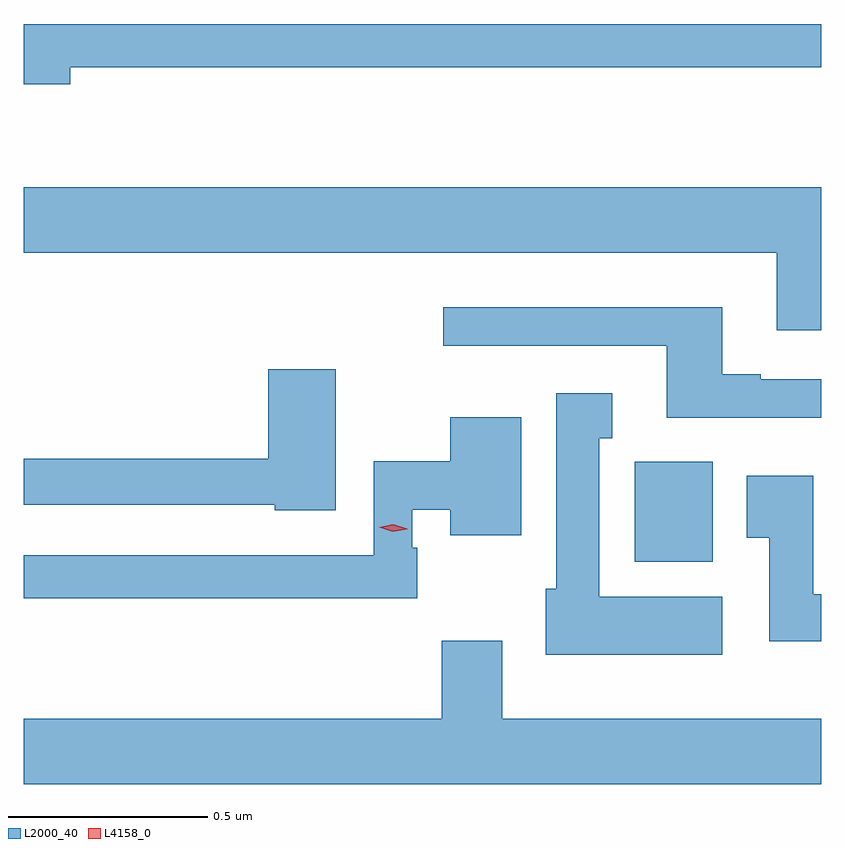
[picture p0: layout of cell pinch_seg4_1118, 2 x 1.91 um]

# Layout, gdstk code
import gdstk
lib = gdstk.Library(unit=1e-6, precision=1e-09)
def R(c, l, rs):  # rectangles x0, y0, x1, y1
    for r in rs: c.add(gdstk.rectangle(r[:2], r[2:], *l))
def P(c, l, *ps):  # polygons
    for p in ps: c.add(gdstk.Polygon(p, *l))
L2000_40 = (2000, 40)
L4158_0 = (4158, 0)

pinch_seg4_1118 = lib.new_cell('pinch_seg4_1118')
R(pinch_seg4_1118, L2000_40, [(556.083,822.686,556.279,822.936)])
P(pinch_seg4_1118, L2000_40, [(554.668,823.926),(556.551,823.926),(556.551,824.034),(554.551,824.034),(554.551,823.883),(554.668,823.883)],
  [(556.551,823.624),(554.551,823.624),(554.551,823.46),(556.439,823.46),(556.439,823.266),(556.551,823.266)],
  [(556.551,823.143),(556.399,823.143),(556.399,823.156),(556.303,823.156),(556.303,823.324),(555.603,823.324),(555.603,823.227),(556.163,823.227),(556.163,823.046),(556.551,823.046)],
  [(555.334,823.168),(555.164,823.168),(555.164,822.944),(554.551,822.944),(554.551,822.828),(555.18,822.828),(555.18,822.815),(555.334,822.815)],
  [(556.303,822.598),(555.994,822.598),(555.994,822.995),(556.027,822.995),(556.027,823.108),(555.887,823.108),(555.887,822.618),(555.86,822.618),(555.86,822.452),(556.303,822.452)],
  [(555.538,822.72),(555.525,822.72),(555.525,822.816),(555.62,822.816),(555.62,822.752),(555.799,822.752),(555.799,823.048),(555.62,823.048),(555.62,822.937),(555.429,822.937),(555.429,822.702),(554.551,822.702),(554.551,822.594),(555.538,822.594)],
  [(556.551,822.604),(556.531,822.604),(556.531,822.901),(556.364,822.901),(556.364,822.745),(556.421,822.745),(556.421,822.486),(556.551,822.486)],
  [(556.551,822.292),(555.751,822.292),(555.751,822.487),(555.599,822.487),(555.599,822.292),(554.551,822.292),(554.551,822.128),(556.551,822.128)])
P(pinch_seg4_1118, L4158_0, [(555.477,822.76),(555.443,822.772),(555.442,822.772),(555.443,822.772),(555.478,822.78),(555.513,822.768),(555.513,822.767),(555.513,822.767)])

lib.write_gds('pinch_seg4_1118.gds')
